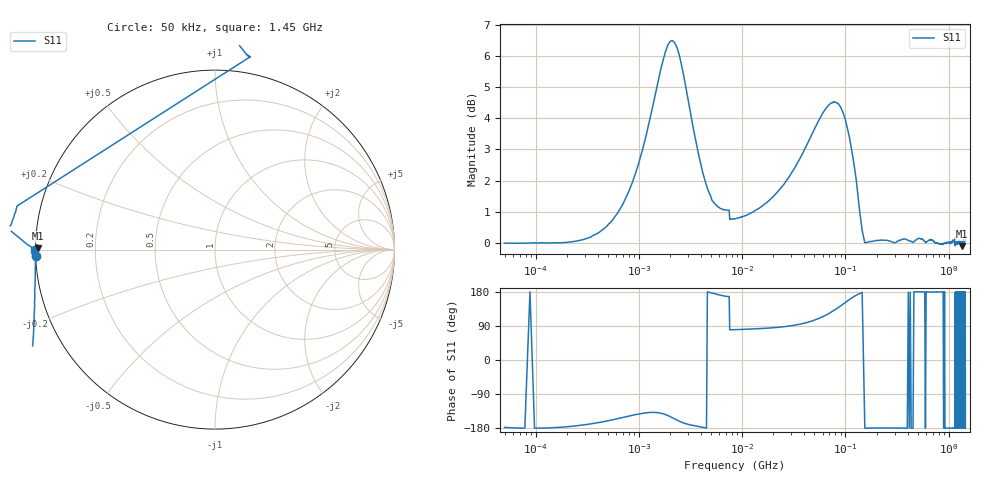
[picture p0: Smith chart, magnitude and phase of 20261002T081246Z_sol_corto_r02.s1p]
! prueba_sol / sol_corto / r02
# HZ S RI R 50
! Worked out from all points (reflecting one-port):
!   501 points, 50 kHz to 1.45 GHz, reference 50 ohm
!   lowest |S11| = -0.1 dB at 1.347 GHz (marker M1), VSWR 169.59, Z = 0.295 + j0.199 ohm
!   phase of S11 starts at -178 deg and turns -2 deg over the sweep
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50000  -0.9986 -0.0374
183000  -0.9998 -0.0512
363500  -1.005 -0.2241
658000  -1.014 -0.5094
1180000  -1.132 -0.9737
1630000  -1.467 -1.211
1990000  -1.803 -1.083
2170000  -1.895 -0.9179
2440000  -1.903 -0.6531
3070000  -1.635 -0.2694
4330000  -1.265 -0.0296
7300000  -1.103 0.2419
7750000  0.1941 1.075
8560000  0.1871 1.078
1.9e7  0.1089 1.173
3.16e7  -0.0343 1.311
4.69e7  -0.3219 1.454
6.76e7  -0.8585 1.418
7.93e7  -1.14 1.237
9.37e7  -1.355 0.8999
9.82e7  -1.386 0.7851
1e8  -1.391 0.7386
1.18e8  -1.331 0.3385
1.36e8  -1.135 0.1017
1.63e8  -1.003 -0.00447
4.06e8  -1.009 0.0151
1.3465e9  -0.9882 0.00786
1.45e9  -1.01 -0.0031
